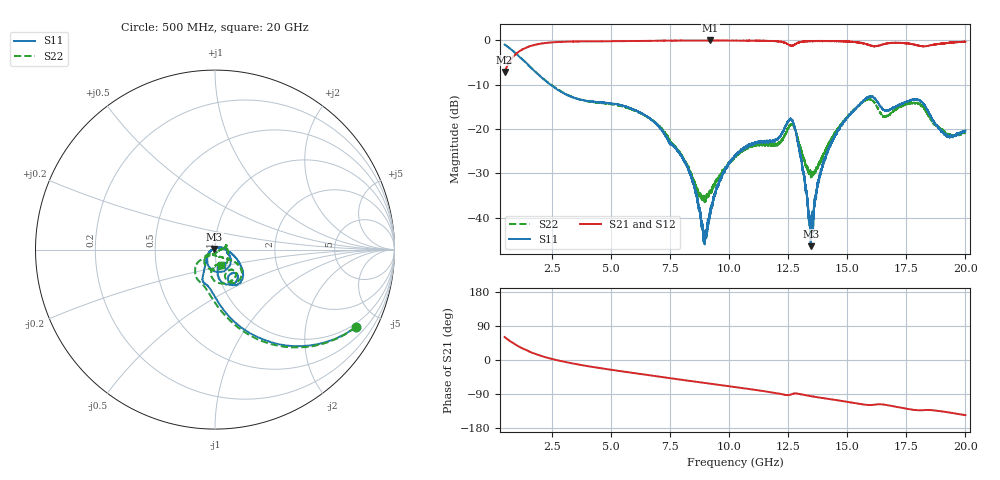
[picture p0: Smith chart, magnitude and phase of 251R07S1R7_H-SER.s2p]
!{201R07S1R7}
!Johanson Technology Inc.
!www.johansontechnology.com
!Test Board Conditions:
!Substrate Type  RO4350B
!Substrate Thickness  10 mil
!Substrate Dk  3.66
!TL Type: GCPW
!TL Trace Width  21 mil
!TL Gap  20 mil
!Electrode orientation  Horizontal
!DUT TOPOLOGY	SERIES
!Mounting Pad LxW  16x21 mil
!Agilent Technologies,N5230A,MY45001966,A.07.50.67
!Agilent N5230A: A.07.50.67
! Created Mon Mar  9 16:24:40 2020
# mhz S ma R 50
! 2 Port Network Data from SP1.SP block
! freq  magS11  angS11  magS21  angS21  magS12  angS12  magS22  angS22
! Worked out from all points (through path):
!   19501 points, 500 MHz to 20 GHz, reference 50 ohm
!   highest |S21| = -0.04 dB at 9.207 GHz (marker M1); lowest = -7.2 dB at 500 MHz (marker M2)
!   group delay of S21, straight-line fit = 24.6 ps
!   lowest |S11| = -46.4 dB at 13.45 GHz (marker M3), VSWR 1.01, Z = 49.7 + j0.346 ohm
!   |S11| at or under -10 dB: 2.439667 GHz to 2.441375 GHz (1.708 MHz wide, 0.07 % of centre); 2.442 GHz to end of sweep
!   |S22| runs from -36.5 to -1.0 dB; largest |S21 - S12| = 0.014
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500  0.8951 -28.8  0.4389 60.7  0.4404 60.8  0.8949 -28.9
1015  0.6934 -50.8  0.7139 38.6  0.713 38.6  0.6965 -51.4
1780  0.4456 -72.4  0.8878 16.4  0.8897 16.4  0.4487 -73.8
3750  0.2132 -98.9  0.971 -13.4  0.971 -13.3  0.2121 -106.8
7000  0.1088 -121.0  0.9884 -43.6  0.9888 -43.6  0.1103 -144.2
8242  0.03729 -154.1  0.993 -54.4  0.9933 -54.3  0.03837 -127.6
8958  0.005175 111.3  0.9936 -60.5  0.9923 -60.4  0.01621 -52.3
9207  0.01161 44.0  0.9955 -62.6  0.9912 -62.6  0.01995 -21.2
9669  0.02789 21.2  0.9925 -66.5  0.9917 -66.5  0.03121 -2.6
10250  0.05077 10.2  0.9916 -71.4  0.9911 -71.4  0.04936 10.1
12087  0.07979 -19.5  0.9725 -88.4  0.9766 -88.7  0.06941 1.2
12639  0.128 -76.4  0.867 -90.5  0.8686 -90.8  0.1143 -88.6
12997  0.05277 -138.8  0.9533 -89.8  0.9531 -90.0  0.06419 -144.8
13453  0.004781 133.2  0.9768 -95.1  0.9825 -95.4  0.03199 -112.0
13500  0.00863 88.3  0.9803 -95.9  0.9786 -95.8  0.03052 -107.0
13931  0.03765 14.2  0.9784 -100.3  0.985 -100.0  0.04782 -57.8
14777  0.1111 -18.2  0.9741 -108.0  0.9736 -108.2  0.1165 -32.6
15874  0.2269 -49.0  0.8938 -118.7  0.8941 -118.7  0.216 -51.0
16750  0.1619 -53.4  0.9289 -119.6  0.9227 -119.8  0.143 -51.4
17968  0.2139 -64.1  0.8751 -132.4  0.8776 -132.6  0.197 -74.7
19172  0.08694 -74.0  0.9282 -137.2  0.9305 -136.8  0.08908 -88.4
20000  0.09618 -67.0  0.9594 -145.6  0.9598 -145.5  0.09219 -67.8
